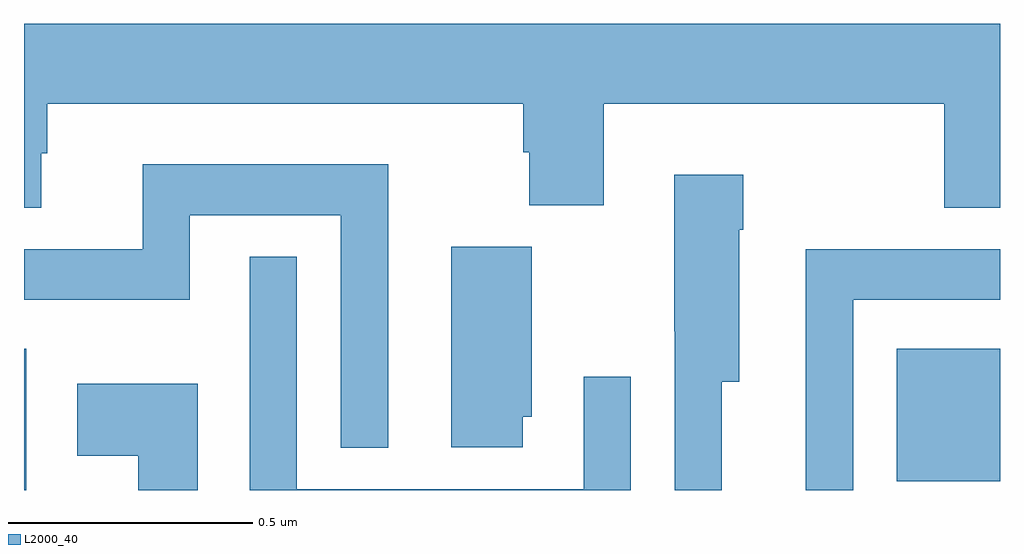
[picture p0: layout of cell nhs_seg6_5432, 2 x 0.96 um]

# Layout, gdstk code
import gdstk
lib = gdstk.Library(unit=1e-6, precision=1e-09)
def R(c, l, rs):  # rectangles x0, y0, x1, y1
    for r in rs: c.add(gdstk.rectangle(r[:2], r[2:], *l))
def P(c, l, *ps):  # polygons
    for p in ps: c.add(gdstk.Polygon(p, *l))
L2000_40 = (2000, 40)

nhs_seg6_5432 = lib.new_cell('nhs_seg6_5432')
R(nhs_seg6_5432, L2000_40, [(182,990.5,182.005,990.79), (183.788,990.518,184,990.79)])
P(nhs_seg6_5432, L2000_40, [(182.035,991.191),(182.048,991.191),(182.048,991.292),(183.023,991.292),(183.023,991.193),(183.035,991.193),(183.035,991.084),(183.188,991.084),(183.188,991.292),(183.886,991.292),(183.886,991.079),(184,991.079),(184,991.456),(182,991.456),(182,991.079),(182.035,991.079)],
  [(182.746,991.168),(182.243,991.168),(182.243,990.994),(182,990.994),(182,990.89),(182.34,990.89),(182.34,991.064),(182.649,991.064),(182.649,990.587),(182.746,990.587)],
  [(183.43,990.722),(183.466,990.722),(183.466,991.034),(183.474,991.034),(183.474,991.147),(183.332,991.147),(183.332,990.826),(183.333,990.826),(183.333,990.5),(183.43,990.5)],
  [(183.022,990.651),(183.04,990.651),(183.04,990.999),(182.876,990.999),(182.876,990.588),(183.022,990.588)],
  [(183.699,990.89),(184,990.89),(184,990.994),(183.602,990.994),(183.602,990.5),(183.699,990.5)],
  [(183.243,990.733),(183.147,990.733),(183.147,990.502),(182.559,990.502),(182.559,990.979),(182.463,990.979),(182.463,990.5),(183.243,990.5)],
  [(182.356,990.718),(182.109,990.718),(182.109,990.571),(182.234,990.571),(182.234,990.5),(182.356,990.5)])

lib.write_gds('nhs_seg6_5432.gds')
